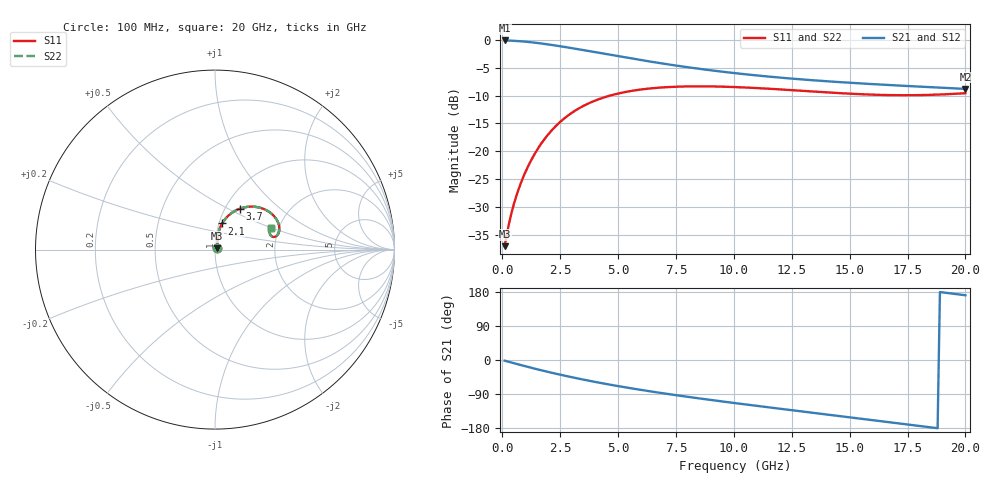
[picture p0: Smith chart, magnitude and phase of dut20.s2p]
! Touchstone file exported from HFSS 2024.1.0
!  File:  C:/UserFiles/LocalFiles/RDL_TSV_Batchsim/temp_RDL_TSV_20_1779399625.aedt
!  Generated:  05:54:27 AM May 22, 2026
!  Design:  RDL_TSV
!  Project:  temp_RDL_TSV_20_1779399625
!  Setup:  Setup1
!  Solution:  Sweep
! Variables:
!  dtsv = 9.85um
!  hbump = 3um
!  htsv = 51.12um
!  ldown = 691.89um
!  lrdl = 233.02um
!  p = 40
!  p1 = 58.31um
!  rhole = 10um
!  subl = 3007.75um
!  t = 450um
!  tdown = 5um
!  trdl = 4.96um
!  viad = 10um
!  wdown = 17.26um
!  wrdl = 20.84um
!  xbump = 18um
# GHz S MA R 50.000000
! Terminal data exported
! Port[1] = TM1_1_T1
! Port[2] = TM1_4_T1
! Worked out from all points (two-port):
!   200 points, 100 MHz to 20 GHz, reference 50 ohm
!   highest |S21| = -0.11 dB at 100 MHz (marker M1); lowest = -8.8 dB at 20 GHz (marker M2)
!   |S21| within 3 dB of the highest: start of sweep to 5.249 GHz
!   lowest |S11| = -37.1 dB at 100 MHz (marker M3), VSWR 1.03, Z = 51.3 + j0.665 ohm
!   |S11| at or under -10 dB: start of sweep to 4.665 GHz
!   |S22| runs from -37.1 to -8.3 dB; largest |S21 - S12| = 3.2e-14
!   S11 on the Smith chart (normalised r, x): 100 MHz: 1.03, +0.01; 2.1 GHz: 1.04, +0.31; 3.7 GHz: 1.17, +0.58; 20 GHz: 1.81, +0.48
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0.1  0.01404 27.5  0.9873 -1.7  0.9873 -1.7  0.01404 27.5
! Gamma 0 0 0 0
! Port Impedance 50 0 50 0
0.3  0.02289 54.7  0.9844 -5.1  0.9844 -5.1  0.02288 54.7
0.4  0.02804 61.3  0.9824 -6.8  0.9824 -6.8  0.02804 61.3
0.6  0.03924 69.6  0.9773 -10.1  0.9773 -10.1  0.03924 69.6
0.9  0.05821 75.8  0.967 -15.0  0.967 -15.0  0.0582 75.8
1.1  0.07217 77.7  0.9584 -18.2  0.9584 -18.2  0.07216 77.7
1.4  0.0947 78.4  0.9435 -22.8  0.9435 -22.8  0.09469 78.4
1.7  0.1185 77.5  0.9267 -27.4  0.9267 -27.4  0.1185 77.5
2.1  0.1511 74.7  0.9022 -33.2  0.9022 -33.2  0.1511 74.8
2.8  0.2063 68.1  0.8561 -42.8  0.8561 -42.8  0.2063 68.1
3.5  0.2549 60.7  0.809 -51.7  0.809 -51.7  0.2549 60.7
3.7  0.2672 58.6  0.7957 -54.2  0.7957 -54.2  0.2672 58.7
5  0.3294 46.2  0.7135 -68.9  0.7135 -68.9  0.3295 46.2
5.9  0.3562 38.9  0.663 -78.0  0.663 -78.0  0.3563 38.9
6.8  0.3725 32.7  0.6184 -86.5  0.6184 -86.5  0.3726 32.7
8.3  0.3824 24.5  0.5568 -99.6  0.5568 -99.6  0.3826 24.5
10.1  0.3763 17.6  0.5008 -114.1  0.5008 -114.1  0.3765 17.6
11.7  0.3621 13.8  0.4637 -126.4  0.4637 -126.4  0.3623 13.9
13.4  0.3438 12.1  0.4338 -139.2  0.4338 -139.2  0.3441 12.2
15  0.3285 12.6  0.4118 -151.2  0.4118 -151.2  0.3289 12.6
16.7  0.3191 14.9  0.3928 -164.0  0.3928 -164.0  0.3194 14.9
20  0.3317 21.0  0.3626 170.8  0.3626 170.8  0.3321 21.0
